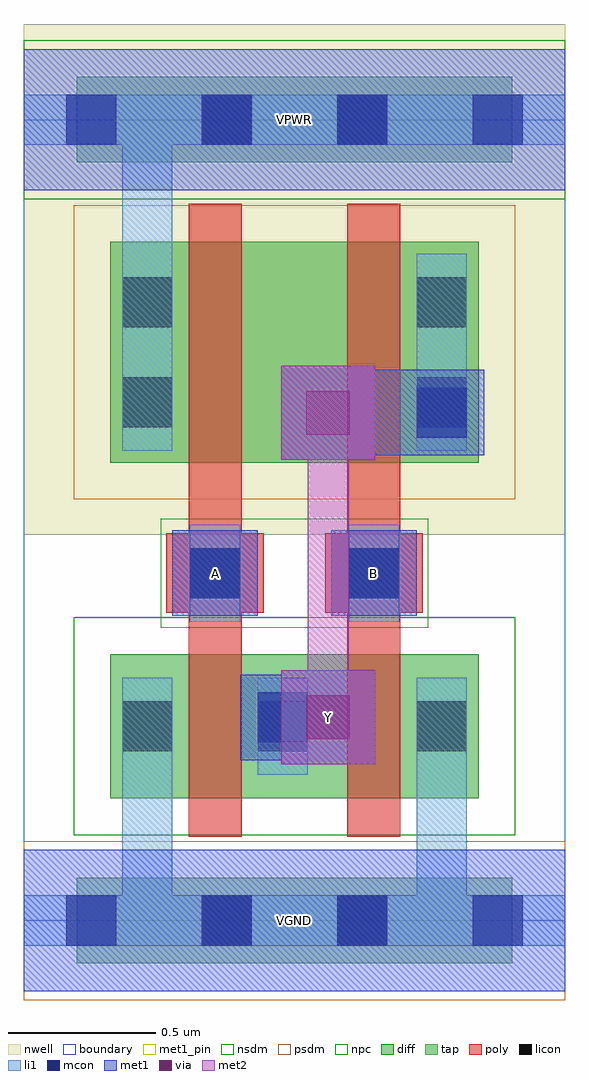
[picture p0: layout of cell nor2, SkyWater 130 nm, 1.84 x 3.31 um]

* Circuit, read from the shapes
.subckt nor2 A B VGND VPWR Y
XM1 Y A VGND VGND sky130_fd_pr__nfet_01v8 w=0.49 l=0.18
XM2 VGND B Y VGND sky130_fd_pr__nfet_01v8 w=0.49 l=0.18
XM3 n1 A VPWR VPWR sky130_fd_pr__pfet_01v8 w=0.75 l=0.18
XM4 Y B n1 VPWR sky130_fd_pr__pfet_01v8 w=0.75 l=0.18
.ends

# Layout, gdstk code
import gdstk
lib = gdstk.Library(unit=1e-6, precision=1e-09)
def R(c, l, rs):  # rectangles x0, y0, x1, y1
    for r in rs: c.add(gdstk.rectangle(r[:2], r[2:], *l))
def A(c, l, x, y, w, h, nx, ny, dx, dy):  # array of equal rectangles
    R(c, l, [(x+i*dx, y+j*dy, x+i*dx+w, y+j*dy+h) for i in range(nx) for j in range(ny)])
nwell = (64, 20)
diff = (65, 20)
tap = (65, 44)
poly = (66, 20)
licon = (66, 44)
li1 = (67, 20)
mcon = (67, 44)
met1_pin = (68, 16)
met1 = (68, 20)
via = (68, 44)
met2 = (69, 20)
nsdm = (93, 44)
psdm = (94, 20)
npc = (95, 20)
boundary = (235, 4)

nor2 = lib.new_cell('nor2')
R(nor2, nwell, [(0,1.31,1.84,3.045)])
R(nor2, diff, [(0.295,0.415,1.545,0.905), (0.295,1.555,1.545,2.305)])
R(nor2, tap, [(0.18,-0.145,1.66,0.145), (0.18,2.575,1.66,2.865)])
R(nor2, poly, [(0.56,0.285,0.74,2.435), (1.1,0.285,1.28,2.435), (0.485,1.045,0.815,1.315), (1.025,1.045,1.355,1.315)])
R(nor2, licon, [(0.605,-0.085,0.775,0.085), (1.065,-0.085,1.235,0.085), (0.335,0.575,0.505,0.745), (0.795,0.575,0.965,0.745), (1.335,0.575,1.505,0.745), (0.565,1.095,0.735,1.265), (1.105,1.095,1.275,1.265), (0.335,1.675,0.505,1.845), (1.335,1.675,1.505,1.845), (0.335,2.015,0.505,2.185), (1.335,2.015,1.505,2.185), (0.605,2.635,0.775,2.805), (1.065,2.635,1.235,2.805)])
R(nor2, li1, [(0,-0.085,1.84,0.085), (0.335,-0.085,0.505,0.825), (1.335,-0.085,1.505,0.825), (0.335,0.495,0.505,0.825), (0.795,0.495,0.965,0.825), (1.335,0.495,1.505,0.825), (0.565,1.015,0.735,1.345), (1.105,1.015,1.275,1.345), (0.335,1.595,0.505,2.265), (0.335,1.595,0.505,2.805), (1.335,1.595,1.505,2.265), (0,2.635,1.84,2.805)])
A(nor2, mcon, 0.145, -0.085, 0.17, 0.17, 4, 2, 0.46, 2.72)
R(nor2, mcon, [(0.795,0.605,0.965,0.775), (0.565,1.095,0.735,1.265), (1.105,1.095,1.275,1.265), (1.335,1.64,1.505,1.81)])
R(nor2, met1_pin, [(0,-0.24,1.84,0.24), (0.875,0.53,1.195,0.85), (0.505,1.035,0.795,1.325), (1.045,1.035,1.335,1.325), (0,2.48,1.84,2.96)])
R(nor2, met1, [(0,-0.24,1.84,0.24), (0.875,0.53,1.195,0.85), (0.735,0.545,1.025,0.835), (0.81,0.62,1.105,0.76), (0.505,1.035,0.795,1.325), (1.045,1.035,1.335,1.325), (0.875,1.565,1.195,1.885), (1.195,1.58,1.275,1.87), (1.275,1.58,1.565,1.87), (0.965,1.655,1.335,1.795), (1.195,1.655,1.49,1.795), (0,2.48,1.84,2.96)])
R(nor2, via, [(0.96,0.615,1.11,0.765), (0.96,1.65,1.11,1.8)])
R(nor2, met2, [(0.875,0.53,1.195,0.85), (0.965,0.62,1.105,1.795), (0.875,1.565,1.195,1.885)])
R(nor2, nsdm, [(0.17,0.29,1.67,1.03), (0,2.45,1.84,2.99)])
R(nor2, psdm, [(0,-0.27,1.84,0.27), (0.17,1.43,1.67,2.43)])
R(nor2, npc, [(0.465,0.995,1.375,1.365)])
R(nor2, boundary, [(0,0,1.84,2.72)])
nor2.add(gdstk.Label('A', (0.65,1.18), layer=68, texttype=5))
nor2.add(gdstk.Label('B', (1.19,1.18), layer=68, texttype=5))
nor2.add(gdstk.Label('Y', (1.035,0.69), layer=68, texttype=5))
nor2.add(gdstk.Label('VPWR', (0.92,2.72), layer=68, texttype=5))
nor2.add(gdstk.Label('VGND', (0.92,0), layer=68, texttype=5))
nor2.add(gdstk.Label('A', (0.65,1.18), layer=68, texttype=16))
nor2.add(gdstk.Label('B', (1.19,1.18), layer=68, texttype=16))
nor2.add(gdstk.Label('Y', (1.035,0.69), layer=68, texttype=16))
nor2.add(gdstk.Label('VPWR', (0.92,2.72), layer=68, texttype=16))
nor2.add(gdstk.Label('VGND', (0.92,0), layer=68, texttype=16))

lib.write_gds('nor2.gds')
